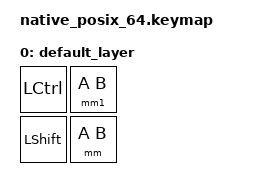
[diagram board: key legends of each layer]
#include <dt-bindings/zmk/keys.h>
#include <behaviors.dtsi>
#include <dt-bindings/zmk/kscan_mock.h>

/ {
    behaviors {
        mm1: mod_morph_param1 {
            compatible = "zmk,behavior-mod-morph-param";
            #binding-cells = <2>;
            bindings = <&mm C PLACEHOLDER>, <&mm D PLACEHOLDER>;
            mods = <(MOD_LCTL|MOD_RCTL)>;
            binding-params = <BINDING_PARAM(0,1) BINDING_PARAM(0,2)>;
        };
    };

    keymap {
        compatible = "zmk,keymap";
        default_layer {
            bindings = <
                &kp LEFT_CONTROL &mm1 A B
                &kp LEFT_SHIFT   &mm A B
            >;
        };
    };
};


&kscan {
    events = <
        ZMK_MOCK_PRESS(1,1,10)
        ZMK_MOCK_RELEASE(1,1,10)
        ZMK_MOCK_PRESS(1,0,10)
        ZMK_MOCK_PRESS(1,1,10)
        ZMK_MOCK_RELEASE(1,1,10)
        ZMK_MOCK_RELEASE(1,0,10)
        ZMK_MOCK_PRESS(0,1,10)
        ZMK_MOCK_RELEASE(0,1,10)
        ZMK_MOCK_PRESS(0,0,10)
        ZMK_MOCK_PRESS(0,1,10)
        ZMK_MOCK_RELEASE(0,1,10)
        ZMK_MOCK_RELEASE(0,0,10)
        ZMK_MOCK_PRESS(1,0,10)
        ZMK_MOCK_PRESS(0,1,10)
        ZMK_MOCK_RELEASE(0,1,10)
        ZMK_MOCK_PRESS(0,0,10)
        ZMK_MOCK_PRESS(0,1,10)
        ZMK_MOCK_RELEASE(0,1,10)
        ZMK_MOCK_RELEASE(0,0,10)
        ZMK_MOCK_RELEASE(1,0,10)
    >;
};
